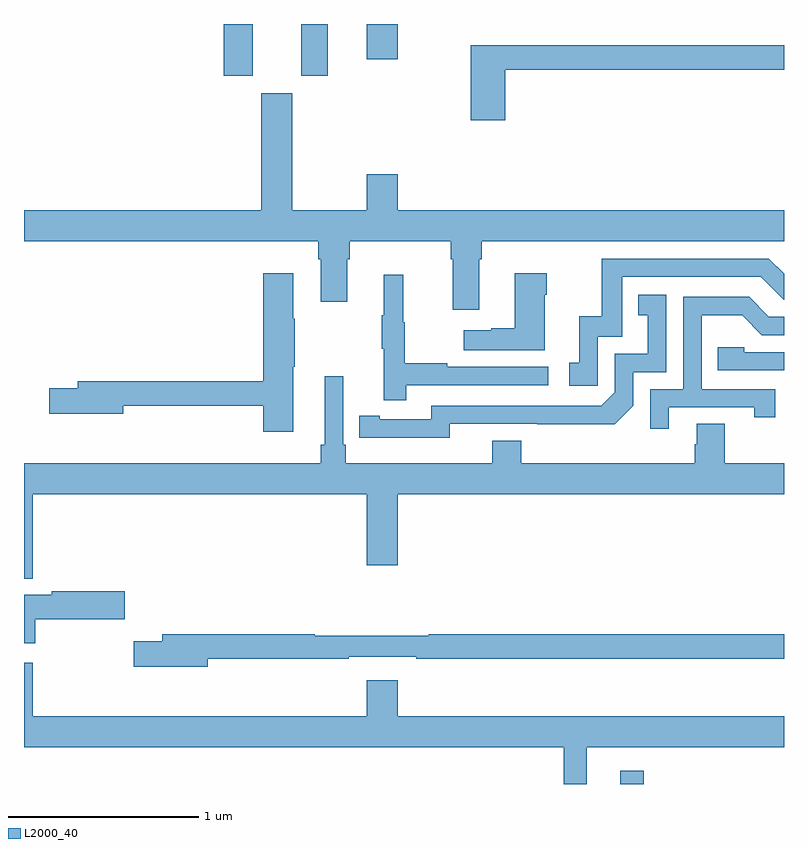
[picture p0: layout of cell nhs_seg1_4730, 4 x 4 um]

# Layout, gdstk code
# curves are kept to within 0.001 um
import gdstk
lib = gdstk.Library(unit=1e-6, precision=1e-09)
def R(c, l, rs):  # rectangles x0, y0, x1, y1
    for r in rs: c.add(gdstk.rectangle(r[:2], r[2:], *l))
def P(c, l, *ps):  # polygons
    for p in ps: c.add(gdstk.Polygon(p, *l))
L2000_40 = (2000, 40)

nhs_seg1_4730 = lib.new_cell('nhs_seg1_4730')
R(nhs_seg1_4730, L2000_40, [(370.139,558.199,370.261,558.268), (368.051,561.927,368.203,562.199), (368.459,561.927,368.599,562.199), (368.804,562.014,368.968,562.199)])
P(nhs_seg1_4730, L2000_40, [(369.533,561.958),(371,561.958),(371,562.087),(369.35,562.087),(369.35,561.693),(369.533,561.693)],
  [(369.397,560.96),(369.41,560.96),(369.41,561.056),(371,561.056),(371,561.22),(368.968,561.22),(368.968,561.409),(368.804,561.409),(368.804,561.22),(368.413,561.22),(368.413,561.835),(368.249,561.835),(368.249,561.22),(367,561.22),(367,561.056),(368.549,561.056),(368.549,560.96),(368.561,560.96),(368.561,560.736),(368.701,560.736),(368.701,560.96),(368.714,560.96),(368.714,561.056),(369.245,561.056),(369.245,560.96),(369.257,560.96),(369.257,560.694),(369.397,560.694)],
  [(370.02,560.553),(370.149,560.553),(370.149,560.868),(370.878,560.868),(370.998,560.748),(371,560.748),(371,560.884),(370.92,560.964),(370.041,560.964),(370.041,560.662),(369.923,560.662),(369.923,560.415),(369.87,560.415),(369.87,560.295),(370.02,560.295)],
  [(368.416,560.395),(368.424,560.395),(368.424,560.648),(368.416,560.648),(368.416,560.887),(368.258,560.887),(368.258,560.318),(367.283,560.318),(367.283,560.282),(367.134,560.282),(367.134,560.147),(367.522,560.147),(367.522,560.19),(368.258,560.19),(368.258,560.052),(368.416,560.052)],
  [(369.742,560.774),(369.75,560.774),(369.75,560.887),(369.584,560.887),(369.584,560.597),(369.458,560.597),(369.458,560.587),(369.315,560.587),(369.315,560.483),(369.742,560.483)],
  [(369.011,560.298),(369.76,560.298),(369.76,560.394),(369.227,560.394),(369.227,560.414),(369.004,560.414),(369.004,560.628),(368.996,560.628),(368.996,560.878),(368.894,560.878),(368.894,560.665),(368.883,560.665),(368.883,560.491),(368.894,560.491),(368.894,560.22),(369.011,560.22)],
  [(369.24,560.094),(370.108,560.093),(370.206,560.19),(370.206,560.367),(370.38,560.367),(370.38,560.773),(370.234,560.773),(370.234,560.667),(370.283,560.667),(370.283,560.463),(370.11,560.463),(370.11,560.262),(370.038,560.19),(369.144,560.19),(369.144,560.118),(368.872,560.118),(368.872,560.138),(368.764,560.138),(368.764,560.022),(369.24,560.021)],
  [(370.393,560.181),(370.844,560.181),(370.844,560.13),(370.955,560.13),(370.955,560.277),(370.566,560.277),(370.566,560.666),(370.78,560.666),(370.884,560.562),(371,560.562),(371,560.658),(370.921,560.658),(370.816,560.763),(370.47,560.763),(370.47,560.277),(370.296,560.277),(370.296,560.07),(370.393,560.07)],
  [(371,560.472),(370.791,560.472),(370.791,560.499),(370.651,560.499),(370.651,560.376),(371,560.376)],
  [(367.045,559.724),(368.804,559.724),(368.804,559.35),(368.968,559.35),(368.968,559.724),(371,559.724),(371,559.888),(370.689,559.888),(370.689,560.096),(370.541,560.096),(370.541,559.986),(370.529,559.986),(370.529,559.888),(369.617,559.888),(369.617,560.005),(369.464,560.005),(369.464,559.888),(368.693,559.888),(368.693,559.984),(368.679,559.984),(368.679,560.344),(368.582,560.344),(368.582,559.984),(368.563,559.984),(368.563,559.888),(367,559.888),(367,559.28),(367.045,559.28)],
  [(367.06,559.067),(367.531,559.067),(367.531,559.214),(367.146,559.214),(367.146,559.195),(367,559.195),(367,558.941),(367.06,558.941)],
  [(367.966,558.858),(368.708,558.858),(368.708,558.87),(369.064,558.87),(369.064,558.858),(371,558.858),(371,558.986),(369.131,558.986),(369.131,558.979),(368.531,558.979),(368.531,558.986),(367.727,558.986),(367.727,558.95),(367.578,558.95),(367.578,558.815),(367.966,558.815)],
  [(368.804,558.745),(368.804,558.556),(367.045,558.556),(367.045,558.838),(367,558.838),(367,558.392),(369.84,558.392),(369.84,558.199),(369.961,558.199),(369.961,558.392),(371,558.392),(371,558.556),(368.968,558.556),(368.968,558.745)])

lib.write_gds('nhs_seg1_4730.gds')
